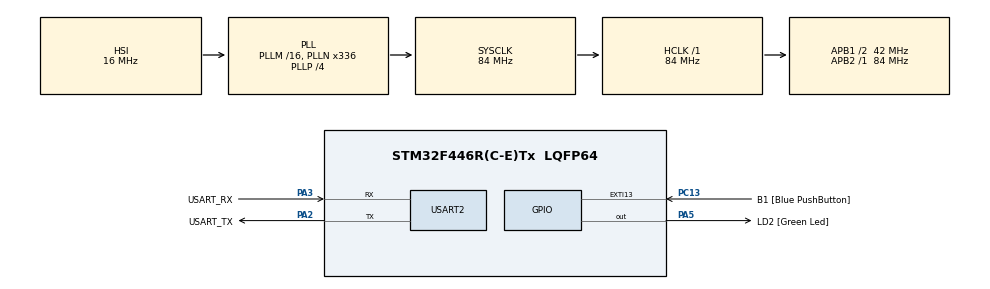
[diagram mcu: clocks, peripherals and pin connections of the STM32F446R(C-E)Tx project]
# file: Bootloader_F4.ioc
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Mcu.Family=STM32F4
Mcu.Name=STM32F446R(C-E)Tx
Mcu.Package=LQFP64
NVIC.PriorityGroup=NVIC_PRIORITYGROUP_0
PA13.GPIO_Label=TMS
PA13.Mode=Serial_Wire
PA13.Signal=SYS_JTMS-SWDIO
PA14.GPIO_Label=TCK
PA14.Mode=Serial_Wire
PA14.Signal=SYS_JTCK-SWCLK
PA2.GPIO_Label=USART_TX
PA2.Mode=Asynchronous
PA2.Signal=USART2_TX
PA3.GPIO_Label=USART_RX
PA3.Mode=Asynchronous
PA3.Signal=USART2_RX
PA5.GPIO_Label=LD2 [Green Led]
PA5.Signal=GPIO_Output
PB3.GPIO_Label=SWO
PB3.Signal=SYS_JTDO-SWO
PC13.GPIO_Label=B1 [Blue PushButton]
PC13.GPIO_ModeDefaultEXTI=GPIO_MODE_IT_FALLING
PC13.Signal=GPXTI13
PC14-OSC32_IN.Signal=RCC_OSC32_IN
PC15-OSC32_OUT.Signal=RCC_OSC32_OUT
PH0-OSC_IN.Signal=RCC_OSC_IN
PH1-OSC_OUT.Signal=RCC_OSC_OUT
ProjectManager.HeapSize=0x200
ProjectManager.StackSize=0x400
ProjectManager.TargetToolchain=STM32CubeIDE
RCC.AHBFreq_Value=84000000
RCC.APB1CLKDivider=RCC_HCLK_DIV2
RCC.APB1Freq_Value=42000000
RCC.APB1TimFreq_Value=84000000
RCC.APB2Freq_Value=84000000
RCC.APB2TimFreq_Value=84000000
RCC.CortexFreq_Value=84000000
RCC.FLatency-AdvancedSettings=FLASH_LATENCY_2
RCC.HCLKFreq_Value=84000000
RCC.HSE_VALUE=8000000
RCC.HSI_VALUE=16000000
RCC.LSE_VALUE=32768
RCC.PLLN=336
RCC.PLLP=RCC_PLLP_DIV4
RCC.SYSCLKFreq_VALUE=84000000
RCC.SYSCLKSource=RCC_SYSCLKSOURCE_PLLCLK
RCC.USBFreq_Value=168000000
RCC.VCOOutputFreq_Value=336000000
USART2.Parity=PARITY_EVEN
USART2.WordLength=WORDLENGTH_9B
USART2.VirtualMode=VM_ASYNC
VP_CRC_VS_CRC.Mode=CRC_Activate
board=NUCLEO-F446RE

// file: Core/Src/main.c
/* USER CODE BEGIN Header */
/**
  ******************************************************************************
  * @file           : main.c
  * @brief          : Main program body
  ******************************************************************************
  * @attention
  *
  * Copyright (c) 2026 STMicroelectronics.
  * All rights reserved.
  *
  * This software is licensed under terms that can be found in the LICENSE file
  * in the root directory of this software component.
  * If no LICENSE file comes with this software, it is provided AS-IS.
  *
  ******************************************************************************
  */
/* USER CODE END Header */
#include "main.h"

/* USER CODE BEGIN Includes */
#include "module/boot.h"

/* USER CODE END Includes */

/* USER CODE BEGIN PTD */
typedef enum
{
  BL_STATE_INIT = 0,      /* decide: ramane in bootloader sau sare in aplicatie */
  BL_STATE_WAIT_CONNECT,  /* fereastra de BOOT_ENTRY_TIMEOUT_MS pentru CONNECT  */
  BL_STATE_IDLE,          /* conectat, asteapta cadre                           */
  BL_STATE_PROCESS,       /* executa comanda primita                            */
  BL_STATE_JUMP           /* porneste aplicatia                                 */
} BlState_t;

/* USER CODE END PTD */

CRC_HandleTypeDef hcrc;

UART_HandleTypeDef huart2;

/* USER CODE BEGIN PV */
static BlState_t   blState = BL_STATE_INIT;
static BootFrame_t blFrame;
static uint32_t    blEntryTick;
static bool        blStayInBoot;

/* USER CODE END PV */

void SystemClock_Config(void);
static void MX_GPIO_Init(void);
static void MX_USART2_UART_Init(void);
static void MX_CRC_Init(void);
/* USER CODE BEGIN PFP */
static void Bootloader_Process(void);
static void Bootloader_ExecuteCommand(void);

/* USER CODE END PFP */

int main(void)
{

  /* MCU Configuration--------------------------------------------------------*/

  /* Reset of all peripherals, Initializes the Flash interface and the Systick. */
  HAL_Init();

  /* Configure the system clock */
  SystemClock_Config();

  /* Initialize all configured peripherals */
  MX_GPIO_Init();
  MX_USART2_UART_Init();
  MX_CRC_Init();
  /* USER CODE BEGIN 2 */
  Boot_Init(&huart2, &hcrc);

  /* USER CODE END 2 */

  /* Infinite loop */
  while (1)
  {

    /* USER CODE BEGIN 3 */
    Bootloader_Process();
  }
  /* USER CODE END 3 */
}

void SystemClock_Config(void)
{
  RCC_OscInitTypeDef RCC_OscInitStruct = {0};
  RCC_ClkInitTypeDef RCC_ClkInitStruct = {0};

  /** Configure the main internal regulator output voltage
  */
  __HAL_RCC_PWR_CLK_ENABLE();
  __HAL_PWR_VOLTAGESCALING_CONFIG(PWR_REGULATOR_VOLTAGE_SCALE3);

  /** Initializes the RCC Oscillators according to the specified parameters
  * in the RCC_OscInitTypeDef structure.
  */
  RCC_OscInitStruct.OscillatorType = RCC_OSCILLATORTYPE_HSI;
  RCC_OscInitStruct.HSIState = RCC_HSI_ON;
  RCC_OscInitStruct.HSICalibrationValue = RCC_HSICALIBRATION_DEFAULT;
  RCC_OscInitStruct.PLL.PLLState = RCC_PLL_ON;
  RCC_OscInitStruct.PLL.PLLSource = RCC_PLLSOURCE_HSI;
  RCC_OscInitStruct.PLL.PLLM = 16;
  RCC_OscInitStruct.PLL.PLLN = 336;
  RCC_OscInitStruct.PLL.PLLP = RCC_PLLP_DIV4;
  RCC_OscInitStruct.PLL.PLLQ = 2;
  RCC_OscInitStruct.PLL.PLLR = 2;
  if (HAL_RCC_OscConfig(&RCC_OscInitStruct) != HAL_OK)
  {
    Error_Handler();
  }

  /** Initializes the CPU, AHB and APB buses clocks
  */
  RCC_ClkInitStruct.ClockType = RCC_CLOCKTYPE_HCLK|RCC_CLOCKTYPE_SYSCLK
                              |RCC_CLOCKTYPE_PCLK1|RCC_CLOCKTYPE_PCLK2;
  RCC_ClkInitStruct.SYSCLKSource = RCC_SYSCLKSOURCE_PLLCLK;
  RCC_ClkInitStruct.AHBCLKDivider = RCC_SYSCLK_DIV1;
  RCC_ClkInitStruct.APB1CLKDivider = RCC_HCLK_DIV2;
  RCC_ClkInitStruct.APB2CLKDivider = RCC_HCLK_DIV1;

  if (HAL_RCC_ClockConfig(&RCC_ClkInitStruct, FLASH_LATENCY_2) != HAL_OK)
  {
    Error_Handler();
  }
}

static void MX_CRC_Init(void)
{

  hcrc.Instance = CRC;
  if (HAL_CRC_Init(&hcrc) != HAL_OK)
  {
    Error_Handler();
  }

}

static void MX_USART2_UART_Init(void)
{

  huart2.Instance = USART2;
  huart2.Init.BaudRate = 115200;
  huart2.Init.WordLength = UART_WORDLENGTH_9B;
  huart2.Init.StopBits = UART_STOPBITS_1;
  huart2.Init.Parity = UART_PARITY_EVEN;
  huart2.Init.Mode = UART_MODE_TX_RX;
  huart2.Init.HwFlowCtl = UART_HWCONTROL_NONE;
  huart2.Init.OverSampling = UART_OVERSAMPLING_16;
  if (HAL_UART_Init(&huart2) != HAL_OK)
  {
    Error_Handler();
  }

}

static void MX_GPIO_Init(void)
{
  GPIO_InitTypeDef GPIO_InitStruct = {0};

  /* GPIO Ports Clock Enable */
  __HAL_RCC_GPIOC_CLK_ENABLE();
  __HAL_RCC_GPIOH_CLK_ENABLE();
  __HAL_RCC_GPIOA_CLK_ENABLE();
  __HAL_RCC_GPIOB_CLK_ENABLE();

  /*Configure GPIO pin Output Level */
  HAL_GPIO_WritePin(LD2_GPIO_Port, LD2_Pin, GPIO_PIN_RESET);

  /*Configure GPIO pin : B1_Pin */
  GPIO_InitStruct.Pin = B1_Pin;
  GPIO_InitStruct.Mode = GPIO_MODE_IT_FALLING;
  GPIO_InitStruct.Pull = GPIO_NOPULL;
  HAL_GPIO_Init(B1_GPIO_Port, &GPIO_InitStruct);

  /*Configure GPIO pin : LD2_Pin */
  GPIO_InitStruct.Pin = LD2_Pin;
  GPIO_InitStruct.Mode = GPIO_MODE_OUTPUT_PP;
  GPIO_InitStruct.Pull = GPIO_NOPULL;
  GPIO_InitStruct.Speed = GPIO_SPEED_FREQ_LOW;
  HAL_GPIO_Init(LD2_GPIO_Port, &GPIO_InitStruct);

}

/* USER CODE BEGIN 4 */
static uint32_t Bootloader_Read32(const uint8_t *p)
{
  return (uint32_t)p[0] | ((uint32_t)p[1] << 8) |
         ((uint32_t)p[2] << 16) | ((uint32_t)p[3] << 24);
}

/**
  * @brief  State machine-ul bootloader-ului, apelat din bucla principala.
  */
static void Bootloader_Process(void)
{
  BootStatus_t st;

  switch (blState)
  {
    case BL_STATE_INIT:
      /* Ramane in bootloader daca B1 e apasat sau nu exista aplicatie valida */
      blStayInBoot = Boot_IsEntryRequested() || !Boot_IsAppValid();
      blEntryTick  = HAL_GetTick();
      HAL_GPIO_WritePin(LD2_GPIO_Port, LD2_Pin, GPIO_PIN_SET);
      blState = BL_STATE_WAIT_CONNECT;
      break;

    case BL_STATE_WAIT_CONNECT:
      st = Boot_ReceiveFrame(&blFrame, 10U);
      if (st == BOOT_OK)
      {
        if (blFrame.cmd == BOOT_CMD_CONNECT)
        {
          Boot_SendResponse(BOOT_OK, BOOT_VERSION);
          blState = BL_STATE_IDLE;
          break;
        }
        Boot_SendResponse(BOOT_ERR_CMD, 0U);  /* intai CONNECT */
      }
      else if ((st != BOOT_ERR_TIMEOUT) && (st != BOOT_ERR_SOF))
      {
        Boot_SendResponse(st, 0U);
      }

      if (!blStayInBoot && ((HAL_GetTick() - blEntryTick) >= BOOT_ENTRY_TIMEOUT_MS))
      {
        blState = BL_STATE_JUMP;
      }
      break;

    case BL_STATE_IDLE:
      st = Boot_ReceiveFrame(&blFrame, 100U);
      if (st == BOOT_OK)
      {
        blState = BL_STATE_PROCESS;
      }
      else if ((st == BOOT_ERR_TIMEOUT) || (st == BOOT_ERR_SOF))
      {
        HAL_GPIO_TogglePin(LD2_GPIO_Port, LD2_Pin);  /* LED clipeste = bootloader activ */
      }
      else
      {
        Boot_SendResponse(st, 0U);  /* CRC / lungime / cadru incomplet -> host retrimite */
      }
      break;

    case BL_STATE_PROCESS:
      Bootloader_ExecuteCommand();
      break;

    case BL_STATE_JUMP:
    default:
      if (Boot_IsAppValid())
      {
        Boot_JumpToApp();  /* nu se mai intoarce */
      }
      blStayInBoot = true;
      blState = BL_STATE_WAIT_CONNECT;
      break;
  }
}

/**
  * @brief  Executa comanda din blFrame si trimite ACK/NACK.
  */
static void Bootloader_ExecuteCommand(void)
{
  const uint8_t *p   = blFrame.payload;
  BootStatus_t   st  = BOOT_OK;
  uint8_t        info = 0U;

  blState = BL_STATE_IDLE;

  switch (blFrame.cmd)
  {
    case BOOT_CMD_CONNECT:
      info = BOOT_VERSION;
      break;

    case BOOT_CMD_ERASE:
      st = (blFrame.len == 4U) ? Boot_EraseApp(Bootloader_Read32(&p[0])) : BOOT_ERR_LEN;
      break;

    case BOOT_CMD_WRITE:
      st = (blFrame.len > 4U)
           ? Boot_WriteApp(Bootloader_Read32(&p[0]), &p[4], blFrame.len - 4U)
           : BOOT_ERR_LEN;
      break;

    case BOOT_CMD_VERIFY:
      st = (blFrame.len == 8U)
           ? Boot_VerifyApp(Bootloader_Read32(&p[0]), Bootloader_Read32(&p[4]))
           : BOOT_ERR_LEN;
      break;

    case BOOT_CMD_JUMP:
      if (Boot_IsAppValid())
      {
        blState = BL_STATE_JUMP;
      }
      else
      {
        st = BOOT_ERR_NO_APP;
      }
      break;

    default:
      st = BOOT_ERR_CMD;
      break;
  }

  Boot_SendResponse(st, info);
}

/* USER CODE END 4 */

void Error_Handler(void)
{
  __disable_irq();
  while (1)
  {
  }
}
